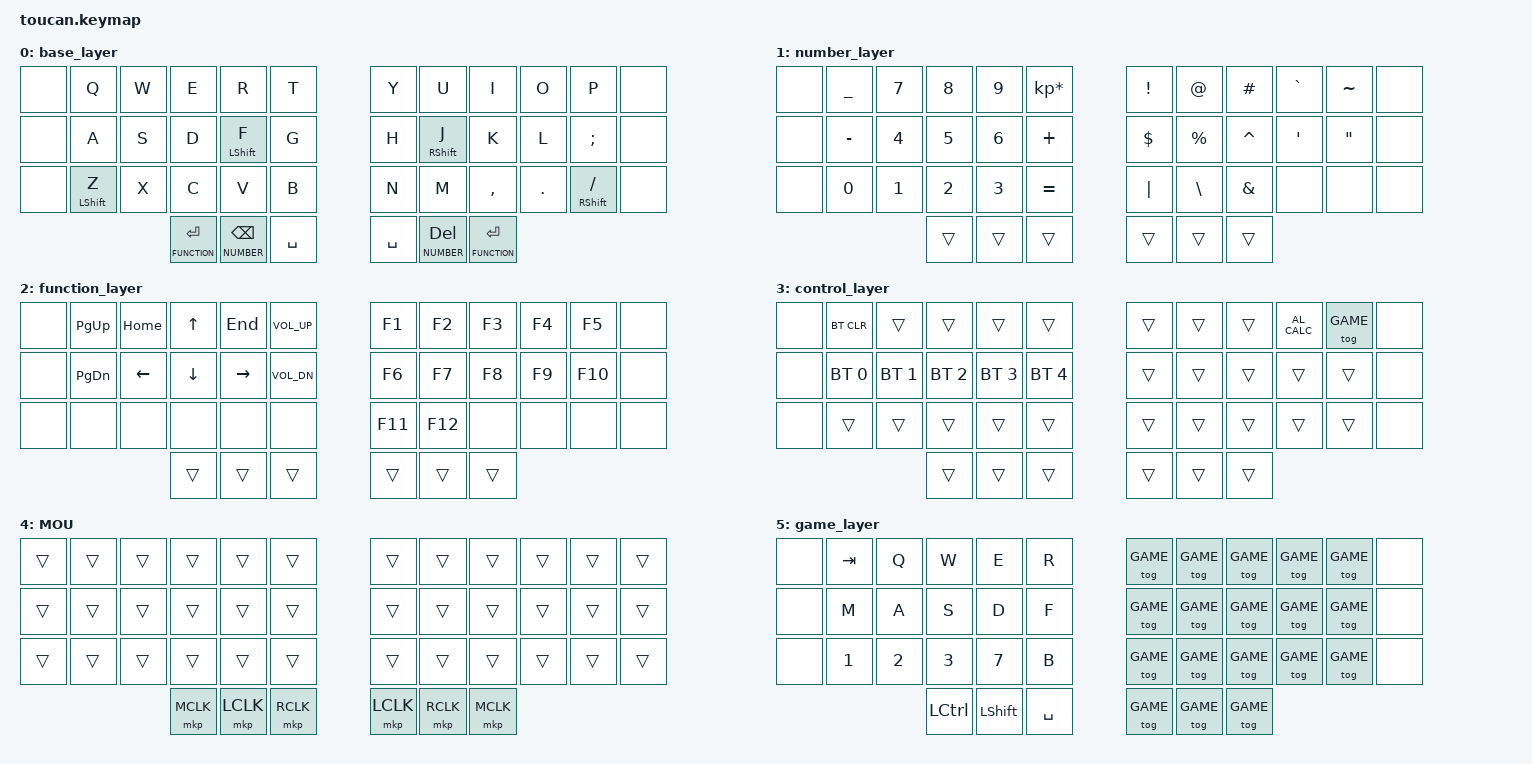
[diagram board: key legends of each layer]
/*
 * Copyright (c) 2020 The ZMK Contributors
 *
 * SPDX-License-Identifier: MIT
 */

#include <behaviors.dtsi>
#include <dt-bindings/zmk/keys.h>
#include <dt-bindings/zmk/bt.h>
#include <dt-bindings/zmk/outputs.h>
#include <dt-bindings/zmk/pointing.h>

#define BASE 0
#define NUMBER 1
#define FUNCTION 2
#define CONTROL 3
#define MOUSE 4
#define GAME 5


/ {
    behaviors {
        bhm: balanced_homerow_mods {
           compatible = "zmk,behavior-hold-tap";
           label = "HOMEROW_MODS";
           #binding-cells = <2>;
           tapping-term-ms = <200>;    // <---[[moderate duration]]
           quick-tap-ms = <125>;
           global-quick-tap;
           flavor = "balanced";
           bindings = <&kp>, <&kp>;
       };
    };

    combos {
        compatible = "zmk,combos";
        combo_esc {
            timeout-ms = <50>;
            key-positions = <1 13>;
            bindings = <&kp ESC>;
        };
        combo_lctrl1 {
            timeout-ms = <50>;
            key-positions = <2 14>;
            bindings = <&kp LCTRL>;
        };
        combo_lctrl2 {
            timeout-ms = <50>;
            key-positions = <14 26>;
            bindings = <&kp LCTRL>;
        };
        combo_lalt1 {
            timeout-ms = <50>;
            key-positions = <3 15>;
            bindings = <&kp LALT>;
        };
        combo_lalt2 {
            timeout-ms = <50>;
            key-positions = <15 27>;
            bindings = <&kp LALT>;
        };
        combo_lgui1 {
            timeout-ms = <50>;
            key-positions = <4 16>;
            bindings = <&kp LGUI>;
        };
        combo_lgui2 {
            timeout-ms = <50>;
            key-positions = <16 28>;
            bindings = <&kp LGUI>;
        };
        combo_tab {
            timeout-ms = <50>;
            key-positions = <17 29>;
            bindings = <&kp TAB>;
        };
        combo_lbrc {
            timeout-ms = <50>;
            key-positions = <6 7>;
            bindings = <&kp LBRC>;
        };
        combo_rbrc {
            timeout-ms = <50>;
            key-positions = <7 8>;
            bindings = <&kp RBRC>;
        };
        combo_lpar {
            timeout-ms = <50>;
            key-positions = <18 19>;
            bindings = <&kp LPAR>;
        };
        combo_rpar {
            timeout-ms = <50>;
            key-positions = <19 20>;
            bindings = <&kp RPAR>;
        };
        combo_lbkt {
            timeout-ms = <50>;
            key-positions = <30 31>;
            bindings = <&kp LBKT>;
        };
        combo_rbkt {
            timeout-ms = <50>;
            key-positions = <31 32>;
            bindings = <&kp RBKT>;
        };
        combo_rgui1 {
            timeout-ms = <50>;
            key-positions = <7 19>;
            bindings = <&kp RGUI>;
        };
        combo_rgui2 {
            timeout-ms = <50>;
            key-positions = <19 31>;
            bindings = <&kp RGUI>;
        };
        combo_ralt1 {
            timeout-ms = <50>;
            key-positions = <8 20>;
            bindings = <&kp RALT>;
        };
        combo_ralt2 {
            timeout-ms = <50>;
            key-positions = <20 32>;
            bindings = <&kp RALT>;
        };
        combo_rctrl1 {
            timeout-ms = <50>;
            key-positions = <9 21>;
            bindings = <&kp RCTRL>;
        };
        combo_rctrl2 {
            timeout-ms = <50>;
            key-positions = <21 33>;
            bindings = <&kp RCTRL>;
        };
        combo_bspc {
            timeout-ms = <50>;
            key-positions = <22 34>;
            bindings = <&kp BSPC>;
        };
    };

    conditional_layers {
        compatible = "zmk,conditional-layers";
        tri_layer {
            if-layers = <NUMBER FUNCTION>;
            then-layer = <CONTROL>;
        };
    };

    keymap {
        compatible = "zmk,keymap";
        base_layer {
            bindings = <
   &none  &kp Q         &kp W  &kp E  &kp R          &kp T    &kp Y  &kp U          &kp I     &kp O   &kp P            &none
   &none  &kp A         &kp S  &kp D  &bhm LSHIFT F  &kp G    &kp H  &bhm RSHIFT J  &kp K     &kp L   &kp SEMI         &none
   &none  &bhm LSHIFT Z &kp X  &kp C  &kp V          &kp B    &kp N  &kp M          &kp COMMA &kp DOT &bhm RSHIFT FSLH &none
               &lt FUNCTION ENTER &lt NUMBER BSPC &kp SPACE   &kp SPACE &lt NUMBER DELETE &lt FUNCTION ENTER
            >;
        };

        number_layer {
            bindings = <
   &none  &kp UNDER  &kp N7  &kp N8  &kp N9  &kp KP_MULTIPLY    &kp EXCL  &kp AT     &kp HASH   &kp GRAVE  &kp TILDE &none
   &none  &kp MINUS  &kp N4  &kp N5  &kp N6  &kp PLUS           &kp DLLR  &kp PRCNT  &kp CARET  &kp SQT    &kp DQT   &none
   &none  &kp N0     &kp N1  &kp N2  &kp N3  &kp EQUAL          &kp PIPE  &kp BSLH   &kp AMPS   &none      &none     &none
                                      &trans  &trans  &trans    &trans  &trans  &trans
            >;
        };

        function_layer {
            bindings = <
   &none  &kp PG_UP  &kp HOME  &kp UP    &kp END    &kp C_VOL_UP   &kp F1  &kp F2  &kp F3  &kp F4  &kp F5   &none
   &none  &kp PG_DN  &kp LEFT  &kp DOWN  &kp RIGHT  &kp C_VOL_DN   &kp F6  &kp F7  &kp F8  &kp F9  &kp F10  &none
   &none  &none      &none     &none     &none      &none          &kp F11 &kp F12 &none   &none   &none    &none
                                         &trans  &trans  &trans    &trans  &trans  &trans
            >;
        };

        control_layer {
            bindings = <
   &none  &bt BT_CLR   &trans       &trans       &trans       &trans         &trans  &trans  &trans  &kp C_AL_CALC &tog GAME &none
   &none  &bt BT_SEL 0 &bt BT_SEL 1 &bt BT_SEL 2 &bt BT_SEL 3 &bt BT_SEL 4   &trans  &trans  &trans  &trans        &trans    &none
   &none  &trans       &trans       &trans       &trans       &trans         &trans  &trans  &trans  &trans        &trans    &none
                                                   &trans  &trans  &trans    &trans  &trans  &trans
            >;
        };

        mouse {
            display-name = "MOU";
            bindings = <
                &trans &trans &trans &trans &trans &trans           &trans &trans &trans &trans &trans &trans
                &trans &trans &trans &trans &trans &trans           &trans &trans &trans &trans &trans &trans
                &trans &trans &trans &trans &trans &trans           &trans &trans &trans &trans &trans &trans
                            &mkp MCLK &mkp LCLK &mkp RCLK           &mkp LCLK &mkp RCLK &mkp MCLK
            >;
        };

        game_layer {
            bindings = <
   &none  &kp TAB  &kp Q   &kp W   &kp E   &kp R     &tog GAME  &tog GAME  &tog GAME  &tog GAME  &tog GAME  &none
   &none  &kp M    &kp A   &kp S   &kp D   &kp F     &tog GAME  &tog GAME  &tog GAME  &tog GAME  &tog GAME  &none
   &none  &kp N1   &kp N2  &kp N3  &kp N7  &kp B     &tog GAME  &tog GAME  &tog GAME  &tog GAME  &tog GAME  &none
                   &kp LCTRL &kp LSHIFT &kp SPACE    &tog GAME  &tog GAME  &tog GAME
            >;
        };
    };
};
